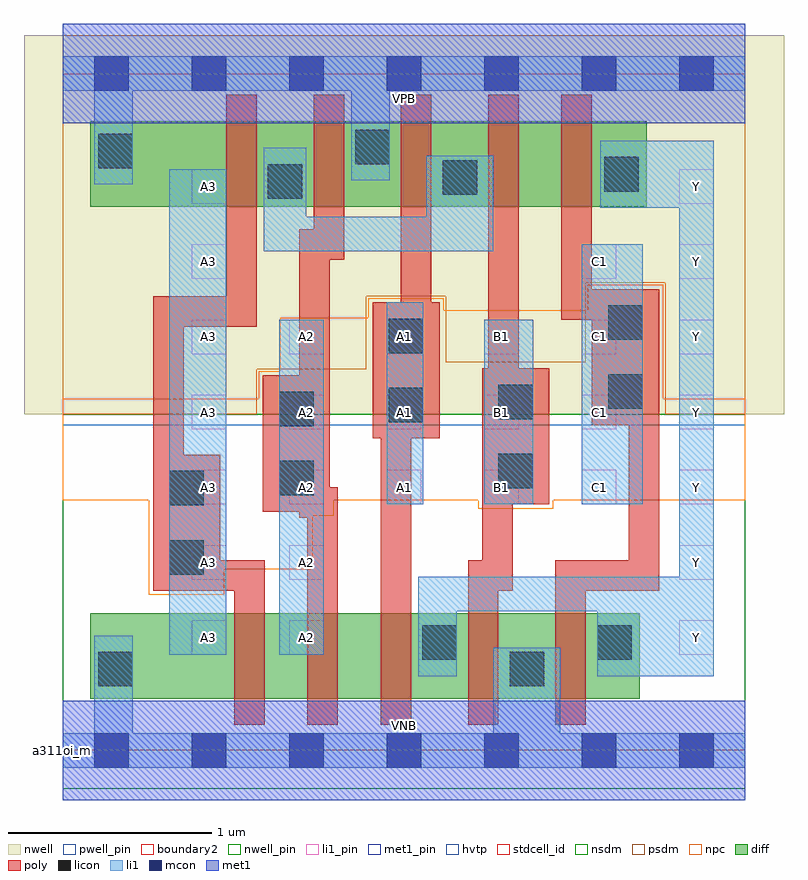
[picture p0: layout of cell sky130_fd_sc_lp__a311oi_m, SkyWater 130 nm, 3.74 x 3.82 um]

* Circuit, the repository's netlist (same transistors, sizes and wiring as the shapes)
* Copyright 2020 The SkyWater PDK Authors
*
* Licensed under the Apache License, Version 2.0 (the "License");
* you may not use this file except in compliance with the License.
* You may obtain a copy of the License at
*
*     https://www.apache.org/licenses/LICENSE-2.0
*
* Unless required by applicable law or agreed to in writing, software
* distributed under the License is distributed on an "AS IS" BASIS,
* WITHOUT WARRANTIES OR CONDITIONS OF ANY KIND, either express or implied.
* See the License for the specific language governing permissions and
* limitations under the License.
*
* SPDX-License-Identifier: Apache-2.0

.SUBCKT sky130_fd_sc_lp__a311oi_m A1 A2 A3 B1 C1 VGND VNB VPB VPWR Y
*.PININFO A1:I A2:I A3:I B1:I C1:I VGND:I VNB:I VPB:I VPWR:I Y:O
MMPA0 pndA A1 VPWR VPB sky130_fd_pr__pfet_01v8_hvt m=1 w=0.42U l=0.15U mult=1 sa=0.265
+ sb=0.265 sd=0.28 area=0.063 perim=1.14
MMPA1 pndA A2 VPWR VPB sky130_fd_pr__pfet_01v8_hvt m=1 w=0.42U l=0.15U mult=1 sa=0.265
+ sb=0.265 sd=0.28 area=0.063 perim=1.14
MMPA2 pndA A3 VPWR VPB sky130_fd_pr__pfet_01v8_hvt m=1 w=0.42U l=0.15U mult=1 sa=0.265
+ sb=0.265 sd=0.28 area=0.063 perim=1.14
MMPB0 pndB B1 pndA VPB sky130_fd_pr__pfet_01v8_hvt m=1 w=0.42U l=0.15U mult=1 sa=0.265
+ sb=0.265 sd=0.28 area=0.063 perim=1.14
MMPC0 Y C1 pndB VPB sky130_fd_pr__pfet_01v8_hvt m=1 w=0.42U l=0.15U mult=1 sa=0.265
+ sb=0.265 sd=0.28 area=0.063 perim=1.14
MMNA0 Y A1 sndA1 VNB sky130_fd_pr__nfet_01v8 m=1 w=0.42U l=0.15U mult=1 sa=0.265
+ sb=0.265 sd=0.28 area=0.063 perim=1.14
MMNA1 sndA1 A2 sndA2 VNB sky130_fd_pr__nfet_01v8 m=1 w=0.42U l=0.15U mult=1 sa=0.265
+ sb=0.265 sd=0.28 area=0.063 perim=1.14
MMNA2 sndA2 A3 VGND VNB sky130_fd_pr__nfet_01v8 m=1 w=0.42U l=0.15U mult=1 sa=0.265
+ sb=0.265 sd=0.28 area=0.063 perim=1.14
MMNB0 Y B1 VGND VNB sky130_fd_pr__nfet_01v8 m=1 w=0.42U l=0.15U mult=1 sa=0.265
+ sb=0.265 sd=0.28 area=0.063 perim=1.14
MMNC0 Y C1 VGND VNB sky130_fd_pr__nfet_01v8 m=1 w=0.42U l=0.15U mult=1 sa=0.265
+ sb=0.265 sd=0.28 area=0.063 perim=1.14
.ENDS sky130_fd_sc_lp__a311oi_m

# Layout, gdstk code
import gdstk
lib = gdstk.Library(unit=1e-6, precision=1e-09)
def R(c, l, rs):  # rectangles x0, y0, x1, y1
    for r in rs: c.add(gdstk.rectangle(r[:2], r[2:], *l))
def A(c, l, x, y, w, h, nx, ny, dx, dy):  # array of equal rectangles
    R(c, l, [(x+i*dx, y+j*dy, x+i*dx+w, y+j*dy+h) for i in range(nx) for j in range(ny)])
def P(c, l, *ps):  # polygons
    for p in ps: c.add(gdstk.Polygon(p, *l))
nwell_pin = (64, 16)
nwell = (64, 20)
diff = (65, 20)
poly = (66, 20)
licon = (66, 44)
li1_pin = (67, 16)
li1 = (67, 20)
mcon = (67, 44)
met1_pin = (68, 16)
met1 = (68, 20)
hvtp = (78, 44)
stdcell_id = (81, 4)
nsdm = (93, 44)
psdm = (94, 20)
npc = (95, 20)
pwell_pin = (122, 16)
boundary2 = (236, 0)

sky130_fd_sc_lp__a311oi_ = lib.new_cell('sky130_fd_sc_lp__a311oi_m')
R(sky130_fd_sc_lp__a311oi_, nwell_pin, [(0,3.085,3.36,3.33)])
R(sky130_fd_sc_lp__a311oi_, nwell, [(-0.19,1.655,3.55,3.52)])
R(sky130_fd_sc_lp__a311oi_, diff, [(0.135,0.255,2.84,0.675), (0.135,2.675,2.875,3.095)])
P(sky130_fd_sc_lp__a311oi_, poly, [(0.995,0.935),(0.775,0.935),(0.775,1.455),(0.595,1.455),(0.595,2.085),(0.955,2.085),(0.955,3.225),(0.805,3.225),(0.805,2.235),(0.445,2.235),(0.445,0.785),(0.845,0.785),(0.845,0.125),(0.995,0.125)],
  [(1.385,3.225),(1.235,3.225),(1.235,2.565),(1.165,2.565),(1.165,1.845),(0.985,1.845),(0.985,1.175),(1.165,1.175),(1.165,1.145),(1.205,1.145),(1.205,0.125),(1.355,0.125),(1.355,1.295),(1.315,1.295),(1.315,2.415),(1.385,2.415)],
  [(1.855,2.205),(1.815,2.205),(1.815,3.225),(1.665,3.225),(1.665,2.205),(1.525,2.205),(1.525,1.535),(1.565,1.535),(1.565,0.125),(1.715,0.125),(1.715,1.535),(1.855,1.535)],
  [(2.395,1.88),(2.245,1.88),(2.245,3.225),(2.095,3.225),(2.095,1.88),(2.065,1.88),(2.065,0.935),(1.995,0.935),(1.995,0.125),(2.145,0.125),(2.145,0.785),(2.215,0.785),(2.215,1.21),(2.395,1.21)],
  [(2.935,2.27),(2.605,2.27),(2.605,3.225),(2.455,3.225),(2.455,2.12),(2.605,2.12),(2.605,1.6),(2.785,1.6),(2.785,0.935),(2.425,0.935),(2.425,0.125),(2.575,0.125),(2.575,0.785),(2.935,0.785)])
R(sky130_fd_sc_lp__a311oi_, licon, [(0.175,0.315,0.345,0.485), (2.2,0.315,2.37,0.485), (1.77,0.445,1.94,0.615), (2.63,0.445,2.8,0.615), (0.525,0.865,0.695,1.035), (0.525,1.205,0.695,1.375), (1.065,1.255,1.235,1.425), (2.145,1.29,2.315,1.46), (1.065,1.595,1.235,1.765), (1.605,1.615,1.775,1.785), (2.145,1.63,2.315,1.8), (2.685,1.68,2.855,1.85), (1.605,1.955,1.775,2.125), (2.685,2.02,2.855,2.19), (1.01,2.715,1.18,2.885), (1.87,2.735,2.04,2.905), (2.665,2.75,2.835,2.92), (0.175,2.865,0.345,3.035), (1.44,2.885,1.61,3.055)])
A(sky130_fd_sc_lp__a311oi_, li1_pin, 0.635, 1.21, 0.17, 0.17, 6, 3, 0.48, 0.37)
R(sky130_fd_sc_lp__a311oi_, li1_pin, [(0.635,0.47,0.805,0.64), (1.115,0.47,1.285,0.64), (3.035,0.47,3.205,0.64), (0.635,0.84,0.805,1.01), (1.115,0.84,1.285,1.01), (3.035,0.84,3.205,1.01), (0.635,2.32,0.805,2.49), (2.555,2.32,2.725,2.49), (3.035,2.32,3.205,2.49), (0.635,2.69,0.805,2.86), (3.035,2.69,3.205,2.86)])
R(sky130_fd_sc_lp__a311oi_, li1, [(0.525,0.47,0.805,2.86), (1.065,0.47,1.285,2.12), (1.595,1.21,1.775,2.205), (2.075,1.21,2.315,2.12), (2.555,1.21,2.855,2.49)])
P(sky130_fd_sc_lp__a311oi_, li1, [(1.42,2.805),(1.42,3.245),(0.345,3.245),(0.345,2.785),(0.155,2.785),(0.155,3.245),(0,3.245),(0,3.415),(3.36,3.415),(3.36,3.245),(1.61,3.245),(1.61,2.805)],
  [(0.155,0.085),(0.155,0.565),(0.345,0.565),(0.345,0.085),(2.12,0.085),(2.12,0.505),(2.45,0.505),(2.45,0.085),(3.36,0.085),(3.36,-0.085),(0,-0.085),(0,0.085)],
  [(3.205,3),(3.205,0.365),(2.63,0.365),(2.63,0.685),(1.94,0.685),(1.94,0.365),(1.75,0.365),(1.75,0.855),(3.035,0.855),(3.035,2.67),(2.645,2.67),(2.645,3)],
  [(1.79,2.625),(1.79,2.925),(2.12,2.925),(2.12,2.455),(0.99,2.455),(0.99,2.965),(1.2,2.965),(1.2,2.625)])
A(sky130_fd_sc_lp__a311oi_, mcon, 0.155, -0.085, 0.17, 0.17, 7, 2, 0.48, 3.33)
R(sky130_fd_sc_lp__a311oi_, met1_pin, [(0,0,3.36,0.245), (0,3.085,3.36,3.33)])
R(sky130_fd_sc_lp__a311oi_, met1, [(0,-0.245,3.36,0.245), (0,3.085,3.36,3.575)])
R(sky130_fd_sc_lp__a311oi_, hvtp, [(0,1.6,3.36,3.33)])
R(sky130_fd_sc_lp__a311oi_, stdcell_id, [(0,0,3.36,3.33)])
R(sky130_fd_sc_lp__a311oi_, nsdm, [(0,-0.19,3.36,1.655)])
P(sky130_fd_sc_lp__a311oi_, psdm, [(3.36,3.52),(0,3.52),(0,1.655),(0.955,1.655),(0.955,1.875),(1.495,1.875),(1.495,2.235),(1.885,2.235),(1.885,1.91),(2.575,1.91),(2.575,2.3),(2.965,2.3),(2.965,1.655),(3.36,1.655)])
P(sky130_fd_sc_lp__a311oi_, npc, [(3.36,1.73),(2.955,1.73),(2.955,2.29),(2.585,2.29),(2.585,2.165),(1.875,2.165),(1.875,2.225),(1.505,2.225),(1.505,2.13),(1.07,2.13),(1.07,1.865),(0.965,1.865),(0.965,1.73),(0,1.73),(0,1.23),(0.425,1.23),(0.425,0.765),(0.795,0.765),(0.795,0.89),(1.23,0.89),(1.23,1.155),(1.335,1.155),(1.335,1.23),(2.045,1.23),(2.045,1.19),(2.415,1.19),(2.415,1.23),(3.36,1.23)])
R(sky130_fd_sc_lp__a311oi_, pwell_pin, [(0,0,3.36,0.245)])
R(sky130_fd_sc_lp__a311oi_, boundary2, [(0,0,3.36,3.33)])
sky130_fd_sc_lp__a311oi_.add(gdstk.Label('VNB', (1.68,0.123), layer=64, texttype=59))
sky130_fd_sc_lp__a311oi_.add(gdstk.Label('VPB', (1.68,3.208), layer=64, texttype=5))
sky130_fd_sc_lp__a311oi_.add(gdstk.Label('a311oi_m', (0,0), layer=83, texttype=44))
sky130_fd_sc_lp__a311oi_.add(gdstk.Label('VPWR', (1.68,3.208), layer=68, texttype=5))
sky130_fd_sc_lp__a311oi_.add(gdstk.Label('VGND', (1.68,0.123), layer=68, texttype=5))
sky130_fd_sc_lp__a311oi_.add(gdstk.Label('A1', (1.68,1.295), layer=67, texttype=5))
sky130_fd_sc_lp__a311oi_.add(gdstk.Label('A1', (1.68,1.665), layer=67, texttype=5))
sky130_fd_sc_lp__a311oi_.add(gdstk.Label('A1', (1.68,2.035), layer=67, texttype=5))
sky130_fd_sc_lp__a311oi_.add(gdstk.Label('A2', (1.2,0.555), layer=67, texttype=5))
sky130_fd_sc_lp__a311oi_.add(gdstk.Label('A2', (1.2,0.925), layer=67, texttype=5))
sky130_fd_sc_lp__a311oi_.add(gdstk.Label('A2', (1.2,1.295), layer=67, texttype=5))
sky130_fd_sc_lp__a311oi_.add(gdstk.Label('A2', (1.2,1.665), layer=67, texttype=5))
sky130_fd_sc_lp__a311oi_.add(gdstk.Label('A2', (1.2,2.035), layer=67, texttype=5))
sky130_fd_sc_lp__a311oi_.add(gdstk.Label('A3', (0.72,0.555), layer=67, texttype=5))
sky130_fd_sc_lp__a311oi_.add(gdstk.Label('A3', (0.72,0.925), layer=67, texttype=5))
sky130_fd_sc_lp__a311oi_.add(gdstk.Label('A3', (0.72,1.295), layer=67, texttype=5))
sky130_fd_sc_lp__a311oi_.add(gdstk.Label('A3', (0.72,1.665), layer=67, texttype=5))
sky130_fd_sc_lp__a311oi_.add(gdstk.Label('A3', (0.72,2.035), layer=67, texttype=5))
sky130_fd_sc_lp__a311oi_.add(gdstk.Label('A3', (0.72,2.405), layer=67, texttype=5))
sky130_fd_sc_lp__a311oi_.add(gdstk.Label('A3', (0.72,2.775), layer=67, texttype=5))
sky130_fd_sc_lp__a311oi_.add(gdstk.Label('B1', (2.16,1.295), layer=67, texttype=5))
sky130_fd_sc_lp__a311oi_.add(gdstk.Label('B1', (2.16,1.665), layer=67, texttype=5))
sky130_fd_sc_lp__a311oi_.add(gdstk.Label('B1', (2.16,2.035), layer=67, texttype=5))
sky130_fd_sc_lp__a311oi_.add(gdstk.Label('C1', (2.64,1.295), layer=67, texttype=5))
sky130_fd_sc_lp__a311oi_.add(gdstk.Label('C1', (2.64,1.665), layer=67, texttype=5))
sky130_fd_sc_lp__a311oi_.add(gdstk.Label('C1', (2.64,2.035), layer=67, texttype=5))
sky130_fd_sc_lp__a311oi_.add(gdstk.Label('C1', (2.64,2.405), layer=67, texttype=5))
sky130_fd_sc_lp__a311oi_.add(gdstk.Label('Y', (3.12,0.555), layer=67, texttype=5))
sky130_fd_sc_lp__a311oi_.add(gdstk.Label('Y', (3.12,0.925), layer=67, texttype=5))
sky130_fd_sc_lp__a311oi_.add(gdstk.Label('Y', (3.12,1.295), layer=67, texttype=5))
sky130_fd_sc_lp__a311oi_.add(gdstk.Label('Y', (3.12,1.665), layer=67, texttype=5))
sky130_fd_sc_lp__a311oi_.add(gdstk.Label('Y', (3.12,2.035), layer=67, texttype=5))
sky130_fd_sc_lp__a311oi_.add(gdstk.Label('Y', (3.12,2.405), layer=67, texttype=5))
sky130_fd_sc_lp__a311oi_.add(gdstk.Label('Y', (3.12,2.775), layer=67, texttype=5))

lib.write_gds('sky130_fd_sc_lp__a311oi_m.gds')
